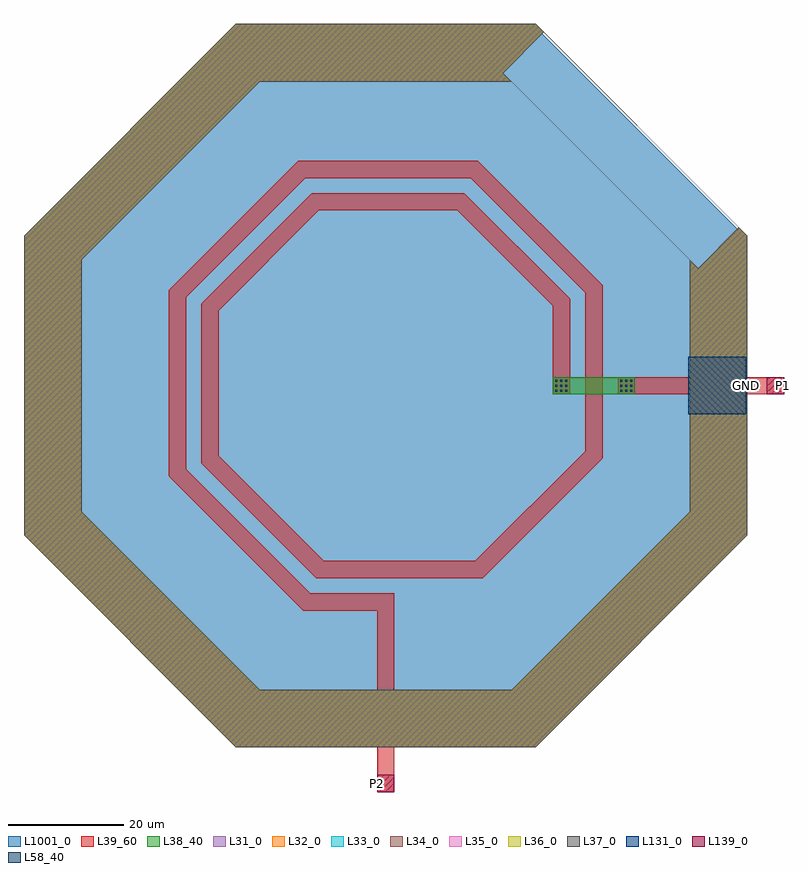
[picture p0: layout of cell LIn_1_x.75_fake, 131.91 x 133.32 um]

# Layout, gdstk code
import gdstk
lib = gdstk.Library(unit=1e-6, precision=1e-09)
def R(c, l, rs):  # rectangles x0, y0, x1, y1
    for r in rs: c.add(gdstk.rectangle(r[:2], r[2:], *l))
def A(c, l, x, y, w, h, nx, ny, dx, dy):  # array of equal rectangles
    R(c, l, [(x+i*dx, y+j*dy, x+i*dx+w, y+j*dy+h) for i in range(nx) for j in range(ny)])
def P(c, l, *ps):  # polygons
    for p in ps: c.add(gdstk.Polygon(p, *l))
L31_0 = (31, 0)
L32_0 = (32, 0)
L33_0 = (33, 0)
L34_0 = (34, 0)
L35_0 = (35, 0)
L36_0 = (36, 0)
L37_0 = (37, 0)
L38_40 = (38, 40)
L39_60 = (39, 60)
L58_40 = (58, 40)
L131_0 = (131, 0)
L139_0 = (139, 0)
L1001_0 = (1001, 0)

lin_1_x_75_fake = lib.new_cell('LIn_1_x.75_fake')
P(lin_1_x_75_fake, L31_0, [(54.244,20.397),(61.315,27.468),(26.004,62.779),(-26.004,62.779),(-62.779,26.004),(-62.779,-26.004),(-26.004,-62.779),(26.004,-62.779),(62.779,-26.004),(62.779,26.004),(27.468,61.315),(20.397,54.244),(52.779,21.862),(52.779,-21.862),(21.862,-52.779),(-21.862,-52.779),(-52.779,-21.862),(-52.779,21.862),(-21.862,52.779),(21.862,52.779)])
P(lin_1_x_75_fake, L32_0, [(54.244,20.397),(61.315,27.468),(26.004,62.779),(-26.004,62.779),(-62.779,26.004),(-62.779,-26.004),(-26.004,-62.779),(26.004,-62.779),(62.779,-26.004),(62.779,26.004),(27.468,61.315),(20.397,54.244),(52.779,21.862),(52.779,-21.862),(21.862,-52.779),(-21.862,-52.779),(-52.779,-21.862),(-52.779,21.862),(-21.862,52.779),(21.862,52.779)])
P(lin_1_x_75_fake, L33_0, [(54.244,20.397),(61.315,27.468),(26.004,62.779),(-26.004,62.779),(-62.779,26.004),(-62.779,-26.004),(-26.004,-62.779),(26.004,-62.779),(62.779,-26.004),(62.779,26.004),(27.468,61.315),(20.397,54.244),(52.779,21.862),(52.779,-21.862),(21.862,-52.779),(-21.862,-52.779),(-52.779,-21.862),(-52.779,21.862),(-21.862,52.779),(21.862,52.779)])
P(lin_1_x_75_fake, L34_0, [(54.244,20.397),(61.315,27.468),(26.004,62.779),(-26.004,62.779),(-62.779,26.004),(-62.779,-26.004),(-26.004,-62.779),(26.004,-62.779),(62.779,-26.004),(62.779,26.004),(27.468,61.315),(20.397,54.244),(52.779,21.862),(52.779,-21.862),(21.862,-52.779),(-21.862,-52.779),(-52.779,-21.862),(-52.779,21.862),(-21.862,52.779),(21.862,52.779)])
P(lin_1_x_75_fake, L35_0, [(54.244,20.397),(61.315,27.468),(26.004,62.779),(-26.004,62.779),(-62.779,26.004),(-62.779,-26.004),(-26.004,-62.779),(26.004,-62.779),(62.779,-26.004),(62.779,26.004),(27.468,61.315),(20.397,54.244),(52.779,21.862),(52.779,-21.862),(21.862,-52.779),(-21.862,-52.779),(-52.779,-21.862),(-52.779,21.862),(-21.862,52.779),(21.862,52.779)])
P(lin_1_x_75_fake, L36_0, [(54.244,20.397),(61.315,27.468),(26.004,62.779),(-26.004,62.779),(-62.779,26.004),(-62.779,-26.004),(-26.004,-62.779),(26.004,-62.779),(62.779,-26.004),(62.779,26.004),(27.468,61.315),(20.397,54.244),(52.779,21.862),(52.779,-21.862),(21.862,-52.779),(-21.862,-52.779),(-52.779,-21.862),(-52.779,21.862),(-21.862,52.779),(21.862,52.779)])
P(lin_1_x_75_fake, L37_0, [(54.244,20.397),(61.315,27.468),(26.004,62.779),(-26.004,62.779),(-62.779,26.004),(-62.779,-26.004),(-26.004,-62.779),(26.004,-62.779),(62.779,-26.004),(62.779,26.004),(27.468,61.315),(20.397,54.244),(52.779,21.862),(52.779,-21.862),(21.862,-52.779),(-21.862,-52.779),(-52.779,-21.862),(-52.779,21.862),(-21.862,52.779),(21.862,52.779)])
R(lin_1_x_75_fake, L38_40, [(29.01,-1.5,43.26,1.5)])
P(lin_1_x_75_fake, L38_40, [(54.244,20.397),(61.315,27.468),(26.004,62.779),(-26.004,62.779),(-62.779,26.004),(-62.779,-26.004),(-26.004,-62.779),(26.004,-62.779),(62.779,-26.004),(62.779,26.004),(27.468,61.315),(20.397,54.244),(52.779,21.862),(52.779,-21.862),(21.862,-52.779),(-21.862,-52.779),(-52.779,-21.862),(-52.779,21.862),(-21.862,52.779),(21.862,52.779)])
R(lin_1_x_75_fake, L39_60, [(-1.5,-70.54,1.5,-36.04), (40.26,-1.5,69.135,1.5)])
P(lin_1_x_75_fake, L39_60, [(29.01,-1.5),(32.01,-1.5),(32.01,15.076),(13.671,33.415),(-12.846,33.415),(-32.01,14.251),(-32.01,-13.431),(-12.021,-33.415),(16.826,-33.415),(37.635,-12.606),(37.635,17.406),(16.001,39.04),(-15.176,39.04),(-37.635,16.581),(-37.635,-15.761),(-14.351,-39.04),(0,-39.04),(0,-36.04),(-13.109,-36.04),(-34.635,-14.519),(-34.635,15.339),(-13.934,36.04),(14.759,36.04),(34.635,16.164),(34.635,-11.364),(15.584,-30.415),(-10.779,-30.415),(-29.01,-12.189),(-29.01,13.009),(-11.604,30.415),(12.429,30.415),(29.01,13.834)],
  [(54.244,20.397),(61.315,27.468),(26.004,62.779),(-26.004,62.779),(-62.779,26.004),(-62.779,-26.004),(-26.004,-62.779),(26.004,-62.779),(62.779,-26.004),(62.779,26.004),(27.468,61.315),(20.397,54.244),(52.779,21.862),(52.779,-21.862),(21.862,-52.779),(-21.862,-52.779),(-52.779,-21.862),(-52.779,21.862),(-21.862,52.779),(21.862,52.779)])
A(lin_1_x_75_fake, L58_40, 29.463, -1.045, 0.35, 0.35, 3, 3, 0.87, 0.87)
A(lin_1_x_75_fake, L58_40, 40.713, -1.045, 0.35, 0.35, 3, 3, 0.87, 0.87)
R(lin_1_x_75_fake, L131_0, [(52.54,-5,62.54,5)])
R(lin_1_x_75_fake, L139_0, [(-1.5,-70.54,1.5,-67.54), (66.135,-1.5,69.135,1.5)])
P(lin_1_x_75_fake, L1001_0, [(62.399,25.846),(25.846,62.399),(-25.846,62.399),(-62.399,25.846),(-62.399,-25.846),(-25.846,-62.399),(25.846,-62.399),(62.399,-25.846)],
  [(62.399,25.846),(25.846,62.399),(-25.846,62.399),(-62.399,25.846),(-62.399,-25.846),(-25.846,-62.399),(25.846,-62.399),(62.399,-25.846)],
  [(62.399,25.846),(25.846,62.399),(-25.846,62.399),(-62.399,25.846),(-62.399,-25.846),(-25.846,-62.399),(25.846,-62.399),(62.399,-25.846)],
  [(62.399,25.846),(25.846,62.399),(-25.846,62.399),(-62.399,25.846),(-62.399,-25.846),(-25.846,-62.399),(25.846,-62.399),(62.399,-25.846)],
  [(62.399,25.846),(25.846,62.399),(-25.846,62.399),(-62.399,25.846),(-62.399,-25.846),(-25.846,-62.399),(25.846,-62.399),(62.399,-25.846)],
  [(62.399,25.846),(25.846,62.399),(-25.846,62.399),(-62.399,25.846),(-62.399,-25.846),(-25.846,-62.399),(25.846,-62.399),(62.399,-25.846)],
  [(62.399,25.846),(25.846,62.399),(-25.846,62.399),(-62.399,25.846),(-62.399,-25.846),(-25.846,-62.399),(25.846,-62.399),(62.399,-25.846)],
  [(62.399,25.846),(25.846,62.399),(-25.846,62.399),(-62.399,25.846),(-62.399,-25.846),(-25.846,-62.399),(25.846,-62.399),(62.399,-25.846)],
  [(62.399,25.846),(25.846,62.399),(-25.846,62.399),(-62.399,25.846),(-62.399,-25.846),(-25.846,-62.399),(25.846,-62.399),(62.399,-25.846)])
lin_1_x_75_fake.add(gdstk.Label('P1', (69.133,0), layer=139, texttype=0))
lin_1_x_75_fake.add(gdstk.Label('P2', (-1.5,-69.04), layer=139, texttype=0))
lin_1_x_75_fake.add(gdstk.Label('GND', (62.54,0), layer=131, texttype=0))

lib.write_gds('LIn_1_x.75_fake.gds')
